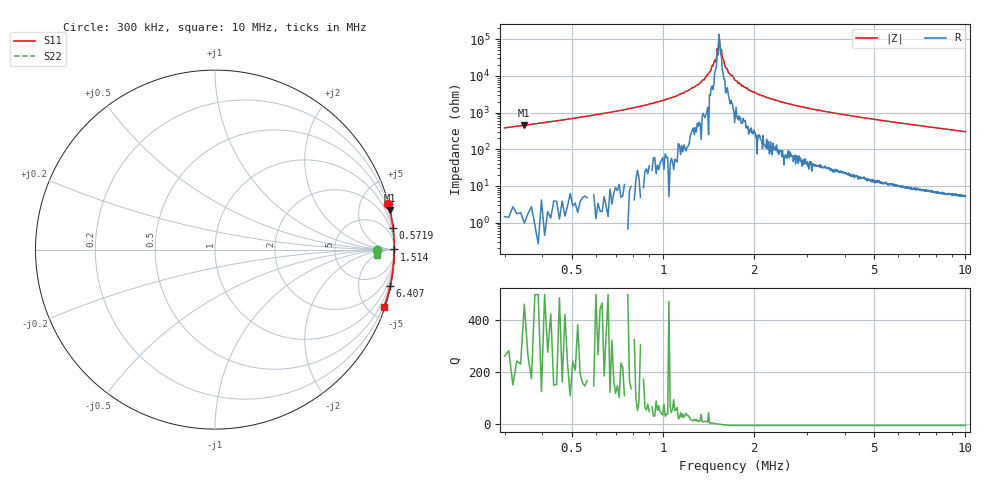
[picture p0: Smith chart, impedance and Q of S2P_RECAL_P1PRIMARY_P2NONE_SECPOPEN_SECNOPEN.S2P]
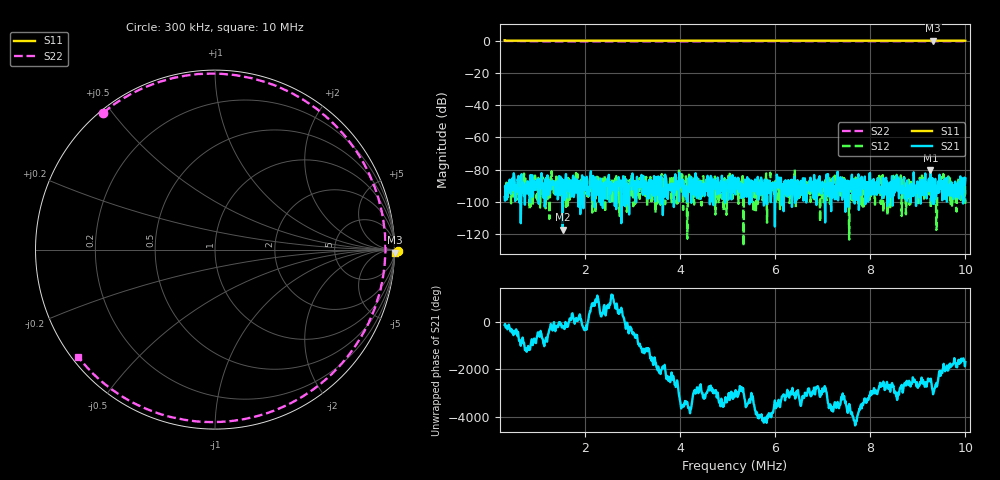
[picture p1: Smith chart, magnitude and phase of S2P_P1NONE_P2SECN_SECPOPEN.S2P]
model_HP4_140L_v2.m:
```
addpath('sbox/sbox');

clear singleturn_test primary secondary1 secondary2
singleturn_test.N=1;
singleturn_test.lowf_DCR=1;
singleturn_test.lowf_Lmag=1;
singleturn_test.ftest_Xp=1;
singleturn_test.ftest_Rp=1;
singleturn_test.ftest_Lleak=1;
singleturn_test.srf=0;
singleturn_test.srf_R=0;
singleturn_test.srf_C=0;

primary=singleturn_test;
primary.N=4;
secondary1=singleturn_test;
secondary1.N=1;
secondary2=singleturn_test;
secondary2.N=1;


 %{

---DCR1---LL1-------o---o---o---DCR2---LL2----
                    |   |   |
                    |   |   |
                    Cp  Lp  Rp
                    |   |   |
                    |   |   |
%}

Z0=50;
ftest=5.1e6;
% ftest=1e6;
% ftest=0.35e6;
% fprintf('\n')
% fprintf('*******************************************\n')
% %% port 1 is primary (4T), secondaries (1TCT) are shorted
% fprintf('port 1 is primary (4T), secondaries (1TCT) are shorted\n')
% baseline_filename='S2P_P1PRIMARY_P2NONE_SECONDARIESSHORTED.S2P';
% [f,S]=read_s2p(baseline_filename);
% [df test_idx]=min(abs(f-ftest));
% ftest=f(test_idx);
% S=squeeze(S(test_idx,:,:));
% Z=Z0*s2z(S); Z=Z(1,1);
% Z_primary_leakage=Z;
% fprintf('Z_primary_leakage:\n')
% print_series_equivalent(ftest,Z_primary_leakage)

fprintf('\n')
fprintf('*******************************************\n')
%% primary magnetizing impedance
fprintf('primary magnetizing impedance\n')
baseline_filename='S2P_RECAL_P1PRIMARY_P2NONE_SECPOPEN_SECNOPEN.S2P';
port=1;
[f,S]=read_s2p(baseline_filename);
Z=Z0*s2z(permute(S,[3 2 1]));
Zs_mag=squeeze(Z(port,port,:));
% plot(f,real(Zs_mag),f,imag(Zs_mag));
%% get magnetizing inductance using lowest frequency data
Zs_mag_lowf=squeeze(Z(port,port,1));
lowf=f(1);
Lmag=imag(Zs_mag_lowf)./(2*pi*lowf);
DCR=real(Zs_mag_lowf);
primary.lowf_DCR=DCR;
primary.lowf_Lmag=Lmag;
fprintf('Low frequency: DCR = %.3f ohms, Lmag = %.3f uH\n',DCR,Lmag*1e6);
% print_series_equivalent(lowf,Zs_mag_lowf);
%% look for self resonance, peak magnitude impedance
[srf_Zs srf_idx]=max(abs(Zs_mag)); 
srf=f(srf_idx);
fprintf('SRF = %.3f MHz, peak Zmag=%.3f ohms\n',srf/1e6,srf_Zs);
Cp=1/((2*pi*srf)^2)/Lmag;
fprintf('Cp = %.2f pf\n',Cp*1e12);
primary.srf=srf;
primary.srf_R=srf_Zs;
primary.srf_C=Cp;
%% get impedance at f0
[df test_idx]=min(abs(f-ftest));
ftest=f(test_idx);
S=squeeze(S(test_idx,:,:));
Z=Z0*s2z(S);
Z=Z(port,port); 
print_parallel_equivalent(ftest,Z)
Y=1./Z;
primary.ftest_Rp=1/real(Y);
primary.ftest_Xp=-1/imag(Y);

fprintf('\n')
fprintf('*******************************************\n')
%% secondary magnetizing impedance
fprintf('secondary magnetizing impedance\n')
baseline_filename='S2P_P1NONE_P2SECN_SECPOPEN.S2P';
port=2;
[f,S]=read_s2p(baseline_filename);
Z=Z0*s2z(permute(S,[3 2 1]));
Zs_mag=squeeze(Z(port,port,:));
% plot(f,real(Zs_mag),f,imag(Zs_mag));
%% get magnetizing inductance using lowest frequency data
Zs_mag_lowf=squeeze(Z(port,port,1));
lowf=f(1);
Lmag=imag(Zs_mag_lowf)./(2*pi*lowf);
DCR=real(Zs_mag_lowf);
secondary1.lowf_DCR=DCR;
secondary1.lowf_Lmag=Lmag;
fprintf('Low frequency: DCR = %.3f ohms, Lmag = %.3f uH\n',DCR,Lmag*1e6);
% print_series_equivalent(lowf,Zs_mag_lowf);
%% look for self resonance, peak magnitude impedance
[srf_Zs srf_idx]=max(abs(Zs_mag)); 
srf=f(srf_idx);
fprintf('SRF = %.3f MHz, peak Zmag=%.3f ohms\n',srf/1e6,srf_Zs);
Cp=1/((2*pi*srf)^2)/Lmag;
fprintf('Cp = %.2f pf\n',Cp*1e12);
secondary1.srf=srf;
secondary1.srf_R=srf_Zs;
secondary1.srf_C=Cp;
%% get impedance at f0
[df test_idx]=min(abs(f-ftest));
ftest=f(test_idx);
S=squeeze(S(test_idx,:,:));
Z=Z0*s2z(S); 
Z=Z(port,port); 
print_parallel_equivalent(ftest,Z)
Y=1./Z;
secondary1.ftest_Rp=1/real(Y);
secondary1.ftest_Xp=-1/imag(Y);


fprintf('\n')
fprintf('*******************************************\n')
%% leakage inductance on 4T primary, one secondary turn shorted
fprintf('leakage inductance on 4T primary, one secondary turn shorted\n')
baseline_filename='S2P_RECAL_P1PRIMARY_P2NONE_SECPSHORT_SECNOPEN.S2P';
port=1;
[f,S]=read_s2p(baseline_filename);
[df test_idx]=min(abs(f-ftest));
ftest=f(test_idx);
S=squeeze(S(test_idx,:,:));
Z=Z0*s2z(S); 
Z=Z(port,port);
primary.ftest_Lleak=imag(Z)/(2*pi*ftest);

fprintf('\n')
fprintf('*******************************************\n')
%% leakage inductance on 1T secondary, other secondary shorted, primary open
fprintf('leakage inductance on 1T secondary, other secondary shorted, primary open\n')
baseline_filename='S2P_RECAL_P1SECP_P2NONE_SECNSHORT.S2P';
port=1;
[f,S]=read_s2p(baseline_filename);
[df test_idx]=min(abs(f-ftest));
ftest=f(test_idx);
S=squeeze(S(test_idx,:,:));
Z=Z0*s2z(S); 
Z=Z(port,port);
secondary1.ftest_Lleak=imag(Z)/(2*pi*ftest);

fprintf('\n')
fprintf('*******************************************\n')
%% secondary to secondary coupling
fprintf('secondary to secondary coupling\n')
baseline_filename='S2P_P1SECN_P2SECP_PRIOPEN.S2P';
[f,S]=read_s2p(baseline_filename);
% winding polarities are opposite, so make S21 and S12 negative
S(:,1,2)=-S(:,1,2); S(:,2,1)=-S(:,2,1);
[df test_idx]=min(abs(f-ftest));
ftest=f(test_idx);
S=squeeze(S(test_idx,:,:));
Z=Z0*s2z(S); 
N=1;
Z3=N*Z(1,2);
Z1=Z(1,1)-N*Z(1,2);
Z2=Z(2,2)-Z(1,2)/N;


return;

fprintf('\n')
fprintf('*******************************************\n')
%% 4T primary to 1T secondary
fprintf('4T primary to 1T secondary\n')
baseline_filename='S2P_RECAL_P1PRIMARY_P2SECP_SECNOPEN.S2P';
[f,S]=read_s2p(baseline_filename);
% winding polarities are NOT opposite, so leave S21 and S12 alone
% S(:,1,2)=-S(:,1,2); S(:,2,1)=-S(:,2,1);
[df test_idx]=min(abs(f-ftest));
ftest=f(test_idx);
S=squeeze(S(test_idx,:,:));
Z=Z0*s2z(S); 
% ZL1=Z(1,1)-Z(2,1);
% ZL2=Z(2,2)-Z(2,1);
% fprintf('primary leakage ZL1 = Z11-Z21\n')
% print_series_equivalent(ftest,ZL1)
% fprintf('secondary leakage ZL2 = Z22-Z21\n')
% print_series_equivalent(ftest,ZL2)
% fprintf('magnetizing impedance = Z21\n')
% % print_series_equivalent(ftest,Z(2,1))
% print_parallel_equivalent(ftest,Z(2,1))
%{
convert to form

---Z1---o---o   o---Z2----
        |   |   |
        |   C   C
        Z3  C   C   N:1 ratio
        |   C   C
        |   |   |
%} 
N=4;
Z3=N*Z(1,2);
Z1=Z(1,1)-N*Z(1,2);
Z2=Z(2,2)-Z(1,2)/N;
return;
fprintf('\n')
fprintf('*******************************************\n')
%% S2P_P1SECN_P2SECP_PRIOPEN
fprintf('four turn primary to single turn secondary\n')
baseline_filename='S2P_P1PRIMARY_P2SECN_SECPOPEN.S2P';
[f,S]=read_s2p(baseline_filename);
% winding polarities are opposite, so make S21 and S12 negative
S(:,1,2)=-S(:,1,2); S(:,2,1)=-S(:,2,1);
[df test_idx]=min(abs(f-ftest));
ftest=f(test_idx);
S=squeeze(S(test_idx,:,:));
Z=Z0*s2z(S); 
ZL1=Z(1,1)-Z(2,1);
ZL2=Z(2,2)-Z(2,1);
fprintf('primary leakage ZL1 = Z11-Z21\n')
print_series_equivalent(ftest,ZL1)
fprintf('secondary leakage ZL2 = Z22-Z21\n')
print_series_equivalent(ftest,ZL2)
fprintf('magnetizing impedance = Z21\n')
% print_series_equivalent(ftest,Z(2,1))
print_parallel_equivalent(ftest,Z(2,1))
return;
Z=Z(1,1);
Z_primary_leakage=Z;
fprintf('Z_primary_leakage:\n')
print_series_equivalent(ftest,Z_primary_leakage)
```
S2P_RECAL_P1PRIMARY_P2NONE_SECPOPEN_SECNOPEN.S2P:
!Keysight Technologies,E5061B,MY49709559,B.05.06
!Date: Fri Apr 08 00:56:01 2022
!Data & Calibration Information:
!Freq	S11:SOLT2(ON)	S21:SOLT2(ON)	S12:SOLT2(ON)	S22:SOLT2(ON)
# Hz S RI R 50
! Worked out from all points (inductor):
!   1000 points, 300 kHz to 10 MHz, reference 50 ohm
!   read as one part to ground: L = 196 uH near 348.5 kHz
!   highest Q = 262 at 348.5 kHz (marker M1), where L = 206 uH
!   self-resonance near 1.533 MHz
!   S11 on the Smith chart (normalised r, x): 300 kHz: 0.03, +7.66; 571.9 kHz: -0, +16; 1.514 MHz: open; 6.407 MHz: 0.18, -9.83; 10 MHz: 0.10, -6.05
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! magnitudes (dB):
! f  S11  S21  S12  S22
! 300 kHz  0.0  -84.9  -88.1  -0.9
! 348.5 kHz  0.0  -91.5  -88.5  -0.9
! 571.9 kHz  0.0  -83.3  -87.7  -0.9
! 1.514 MHz  0.0  -96.8  -86.5  -0.9
! 1.989 MHz  0.0  -83.9  -89.9  -0.9
! 2.29 MHz  0.0  -91.0  -87.8  -0.9
! 2.524 MHz  0.0  -95.9  -99.7  -0.9
! 2.64 MHz  0.0  -95.3  -91.0  -0.9
! 5.155 MHz  0.0  -92.2  -93.2  -0.9
! 6.407 MHz  0.0  -93.5  -86.5  -0.9
! 10 MHz  0.0  -94.9  -81.5  -0.9
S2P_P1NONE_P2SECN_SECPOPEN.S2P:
!Keysight Technologies,E5061B,MY49709559,B.05.06
!Date: Thu Apr 07 18:56:33 2022
!Data & Calibration Information:
!Freq	S11:SOLT2(ON)	S21:SOLT2(ON)	S12:SOLT2(ON)	S22:SOLT2(ON)
# Hz S RI R 50
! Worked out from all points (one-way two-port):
!   1000 points, 300 kHz to 10 MHz, reference 50 ohm
!   highest |S21| = -80.40 dB at 9.262 MHz (marker M1); lowest = -117.2 dB at 1.523 MHz (marker M2)
!   lowest |S11| = 0.0 dB at 9.32 MHz (marker M3)
!   |S11| at or under -10 dB: nowhere
!   |S22| runs from -0.5 to -0.1 dB; largest |S21 - S12| = 0.00013
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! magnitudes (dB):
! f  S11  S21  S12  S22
! 300 kHz  0.1  -96.9  -90.2  -0.1
! 377.7 kHz  0.1  -89.9  -94.7  -0.1
! 465.1 kHz  0.1  -85.2  -92.2  -0.1
! 1.077 MHz  0.0  -82.1  -89.4  -0.4
! 1.523 MHz  0.0  -117.2  -85.5  -0.4
! 2.3 MHz  0.0  -100.0  -94.3  -0.5
! 5.155 MHz  0.0  -84.9  -89.4  -0.3
! 6.873 MHz  0.0  -93.2  -89.3  -0.3
! 9.262 MHz  0.0  -80.4  -91.0  -0.3
! 9.32 MHz  0.0  -89.5  -92.9  -0.3
! 10 MHz  0.0  -85.4  -101.2  -0.3
